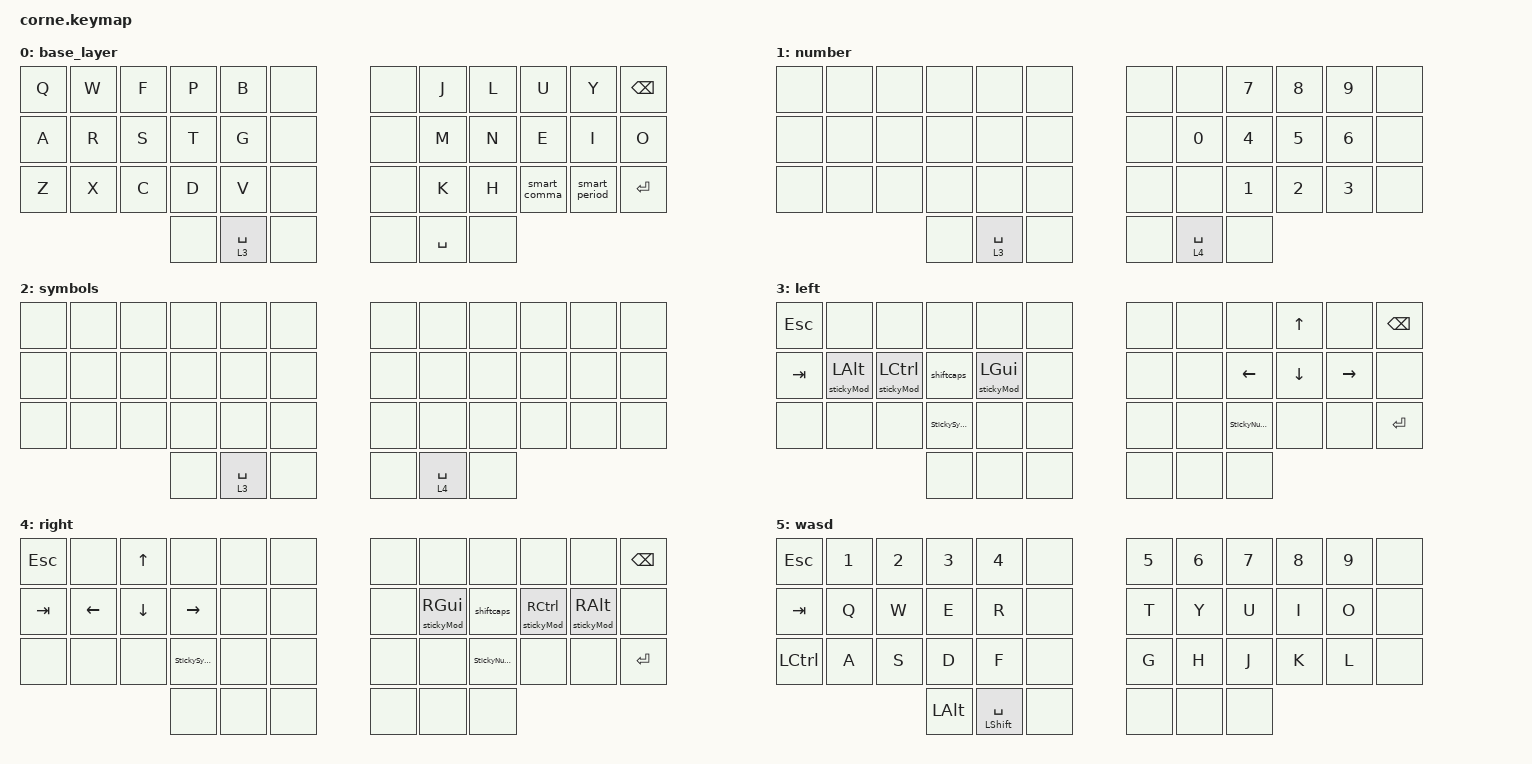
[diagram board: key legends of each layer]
/*
 * Copyright (c) 2020 The ZMK Contributors
 *
 * SPDX-License-Identifier: MIT
 */

#include <behaviors.dtsi>
#include <dt-bindings/zmk/keys.h>

&lt { flavor = "hold-preferred"; };

/ {
    behaviors {
        HRMR: HRMR {
            compatible = "zmk,behavior-hold-tap";
            label = "HRMR";
            bindings = <&kp>, <&kp>;

            #binding-cells = <2>;
            tapping-term-ms = <250>;
            quick-tap-ms = <175>;
            flavor = "balanced";
            hold-trigger-on-release;
            hold-trigger-key-positions = <0 12 24 25 1 2 3 4 5 14 15 16 17 26 27 28 29 36 37 38 13 39 40 41>;
            require-prior-idle-ms = <150>;
        };

        HRML: HRML {
            compatible = "zmk,behavior-hold-tap";
            label = "HRML";
            bindings = <&kp>, <&kp>;

            #binding-cells = <2>;
            tapping-term-ms = <250>;
            quick-tap-ms = <175>;
            flavor = "balanced";
            hold-trigger-on-release;
            hold-trigger-key-positions = <6 7 8 9 10 11 18 19 20 21 22 23 30 31 32 33 34 35 40 41 39 37 36 38>;
            require-prior-idle-ms = <150>;
        };

        smart_period: smart_period {
            compatible = "zmk,behavior-mod-morph";
            label = "SMART_PERIOD";
            bindings = <&kp PERIOD>, <&kp COLON>;

            #binding-cells = <0>;
            mods = <(MOD_RSFT|MOD_LSFT)>;
        };

        smart_comma: smart_comma {
            compatible = "zmk,behavior-mod-morph";
            label = "SMART_COMMA";
            bindings = <&kp COMMA>, <&kp SEMICOLON>;

            #binding-cells = <0>;
            mods = <(MOD_LSFT|MOD_RSFT)>;
        };

        spaceSuper: spaceSuper {
            compatible = "zmk,behavior-hold-tap";
            label = "SPACESUPER";
            bindings = <&mo>, <&kp>;

            #binding-cells = <2>;
            tapping-term-ms = <200>;
            flavor = "balanced";
        };

        stickyMod: stickyMod {
            compatible = "zmk,behavior-sticky-key";
            label = "STICKYMOD";
            bindings = <&kp>;
            #binding-cells = <1>;
            release-after-ms = <1000>;
            quick-release;
            ignore-modifiers;
        };

        shiftcaps: shiftcaps {
            compatible = "zmk,behavior-tap-dance";
            label = "SHIFTCAPS";
            #binding-cells = <0>;
            bindings = <&stickyMod LEFT_SHIFT>, <&kp CAPS>;

            tapping-term-ms = <200>;
        };

        StickyNumbers: StickyNumbers {
            compatible = "zmk,behavior-tap-dance";
            label = "STICKYNUMBERS";
            #binding-cells = <0>;
            bindings = <&sl 1>, <&tog 1>;

            tapping-term-ms = <200>;
        };

        StickySymbols: StickySymbols {
            compatible = "zmk,behavior-tap-dance";
            label = "STICKYSYMBOLS";
            #binding-cells = <0>;
            bindings = <&sl 2>, <&tog 2>;

            tapping-term-ms = <200>;
        };
    };

    combos {
        compatible = "zmk,combos";

        boot_left {
            bindings = <&bootloader>;
            key-positions = <1 2 0>;
            timeout-ms = <20>;
            require-prior-idle-ms = <150>;
            layers = <0>;
        };

        delete {
            bindings = <&kp DELETE>;
            key-positions = <10 10 11>;
            layers = <0>;
        };

        s {
            bindings = <&tog 5>;
            key-positions = <16 15 19 20>;
            layers = <0 5>;
        };
    };

    macros {
        new_macro: new_macro {
            compatible = "zmk,behavior-macro";
            #binding-cells = <0>;
            bindings = <&kp SPACE>, <&macro_tap>;

            label = "NEW_MACRO";
            tap-ms = <10>;
        };
    };

    keymap {
        compatible = "zmk,keymap";

        base_layer {
            bindings = <
&kp Q  &kp W  &kp F  &kp P  &kp B        &none    &none  &kp J      &kp L  &kp U         &kp Y          &kp BSPC
&kp A  &kp R  &kp S  &kp T  &kp G        &none    &none  &kp M      &kp N  &kp E         &kp I          &kp O
&kp Z  &kp X  &kp C  &kp D  &kp V        &none    &none  &kp K      &kp H  &smart_comma  &smart_period  &kp RET
                     &none  &lt 3 SPACE  &none    &none  &kp SPACE  &none
            >;
        };

        number {
            bindings = <
&none  &none  &none  &none  &none        &none    &none  &none        &kp N7  &kp N8  &kp N9  &none
&none  &none  &none  &none  &none        &none    &none  &kp N0       &kp N4  &kp N5  &kp N6  &none
&none  &none  &none  &none  &none        &none    &none  &none        &kp N1  &kp N2  &kp N3  &none
                     &none  &lt 3 SPACE  &none    &none  &lt 4 SPACE  &none
            >;
        };

        symbols {
            bindings = <
&none  &none  &none  &none  &none        &none    &none  &none        &none  &none  &none  &none
&none  &none  &none  &none  &none        &none    &none  &none        &none  &none  &none  &none
&none  &none  &none  &none  &none        &none    &none  &none        &none  &none  &none  &none
                     &none  &lt 3 SPACE  &none    &none  &lt 4 SPACE  &none
            >;
        };

        left {
            bindings = <
&kp ESCAPE  &none                &none                    &none           &none                &none    &none  &none  &none           &kp UP_ARROW    &none            &kp BACKSPACE
&kp TAB     &stickyMod LEFT_ALT  &stickyMod LEFT_CONTROL  &shiftcaps      &stickyMod LEFT_GUI  &none    &none  &none  &kp LEFT_ARROW  &kp DOWN_ARROW  &kp RIGHT_ARROW  &none
&none       &none                &none                    &StickySymbols  &none                &none    &none  &none  &StickyNumbers  &none           &none            &kp ENTER
                                                          &none           &none                &none    &none  &none  &none
            >;
        };

        right {
            bindings = <
&kp ESCAPE  &none           &kp UP_ARROW    &none            &none  &none    &none  &none                 &none           &none                     &none                 &kp BACKSPACE
&kp TAB     &kp LEFT_ARROW  &kp DOWN_ARROW  &kp RIGHT_ARROW  &none  &none    &none  &stickyMod RIGHT_GUI  &shiftcaps      &stickyMod RIGHT_CONTROL  &stickyMod RIGHT_ALT  &none
&none       &none           &none           &StickySymbols   &none  &none    &none  &none                 &StickyNumbers  &none                     &none                 &kp ENTER
                                            &none            &none  &none    &none  &none                 &none
            >;
        };

        wasd {
            bindings = <
&kp ESC    &kp N1  &kp N2  &kp N3        &kp N4                &none    &kp N5  &kp N6  &kp N7  &kp N8  &kp N9  &none
&kp TAB    &kp Q   &kp W   &kp E         &kp R                 &none    &kp T   &kp Y   &kp U   &kp I   &kp O   &none
&kp LCTRL  &kp A   &kp S   &kp D         &kp F                 &none    &kp G   &kp H   &kp J   &kp K   &kp L   &none
                           &kp LEFT_ALT  &mt LEFT_SHIFT SPACE  &none    &none   &none   &none
            >;
        };
    };
};
